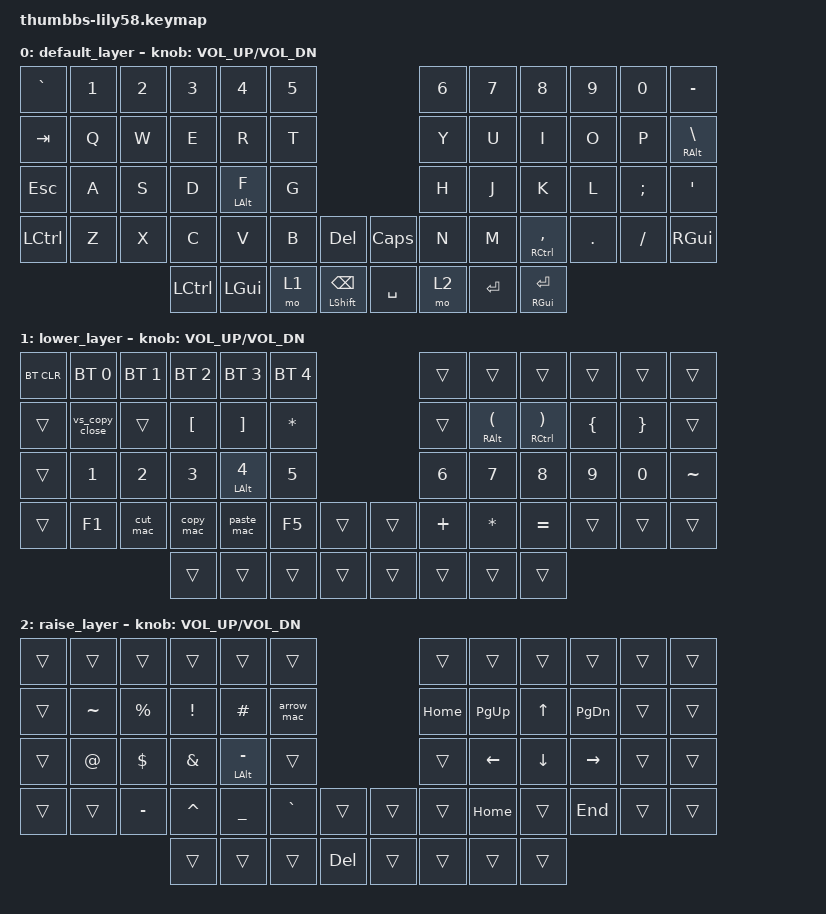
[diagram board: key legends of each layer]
/*
 * Copyright (c) 2020 The ZMK Contributors
 *
 * SPDX-License-Identifier: MIT
 */

#include <behaviors.dtsi>
#include <dt-bindings/zmk/keys.h>
#include <dt-bindings/zmk/bt.h>
#include <dt-bindings/zmk/ext_power.h>

/ {

	behaviors {
        bm: left_hand_positional_hold_tap {
            compatible = "zmk,behavior-hold-tap";
            label = "LEFT_POSITIONAL_HOLD_TAP";
            #binding-cells = <2>;
            tapping-term-ms = <200>;
            quick-tap-ms = <200>;
            flavor = "hold-preferred";
            bindings = <&kp>, <&kp>;
        };
		hm: homerow_mods {
            compatible = "zmk,behavior-hold-tap";
            label = "HOMEROW_MODS";
            #binding-cells = <2>;
            tapping-term-ms = <150>;
            quick-tap-ms = <300>;
            flavor = "tap-preferred";
            bindings = <&kp>, <&kp>;
        };
    };

	macros {
        arrow_mac: arrow_mac {
            label = "ZM_arrow_mac";
            compatible = "zmk,behavior-macro";
			wait-ms = <10>;
			tap-ms = <10>;
            #binding-cells = <0>;
            bindings
                = <&macro_tap &kp MINUS &kp GT>;
        };
        
        copy_mac: copy_mac {
            label = "ZM_copy_mac";
            compatible = "zmk,behavior-macro";
			wait-ms = <10>;
			tap-ms = <10>;
            #binding-cells = <0>;
            bindings
                = 
                  <&macro_press &kp LGUI>,
                  <&macro_tap &kp C>,
                  <&macro_release &kp LGUI>;
        };

        paste_mac: paste_mac {
            label = "ZM_paste_mac";
            compatible = "zmk,behavior-macro";
			wait-ms = <10>;
			tap-ms = <10>;
            #binding-cells = <0>;
            bindings
                = 
                  <&macro_press &kp LGUI>,
                  <&macro_tap &kp V>,
                  <&macro_release &kp LGUI>;
        };
        
        cut_mac: cut_mac {
            label = "ZM_cut_mac";
            compatible = "zmk,behavior-macro";
			wait-ms = <10>;
			tap-ms = <10>;
            #binding-cells = <0>;
            bindings
                = 
                  <&macro_press &kp LGUI>,
                  <&macro_tap &kp X>,
                  <&macro_release &kp LGUI>;
        };
        
        vs_copy_close: vs_copy_close {
             label = "ZM_vs_copy_close";
            compatible = "zmk,behavior-macro";
			wait-ms = <10>;
			tap-ms = <10>;
            #binding-cells = <0>;
            bindings
                = 
                  <&macro_press &kp LGUI>,
                  <&macro_tap &kp A>,
                  <&macro_tap &kp C>,
                  <&macro_release &kp LGUI>,
                  <&macro_press &kp LALT>,
                  <&macro_tap &kp W>,
                  <&macro_tap &kp J>,
                  <&macro_release &kp LALT>;           
        };
    };	

	
	keymap {
		compatible = "zmk,keymap";

		default_layer {
// ------------------------------------------------------------------------------------------------------------
// |  ESC  |  1  |  2  |  3   |  4   |  5   |                   |  6   |  7    |  8    |  9   |   0   |   `   |
// |  TAB  |  Q  |  W  |  E   |  R   |  T   |                   |  Y   |  U    |  I    |  O   |   P   |   -   |
// |  CTRL |  A  |  S  |  D   |  F   |  G   |                   |  H   |  J    |  K    |  L   |   ;   |   '   |
// | SHIFT |  Z  |  X  |  C   |  V   |  B   |   "["  |  |  "]"  |  N   |  M    |  ,    |  .   |   /   | SHIFT |
//                     | ALT  | GUI  | LOWER|  SPACE |  | ENTER | RAISE| BSPC  | GUI   |
			bindings = <
&kp GRAVE   &kp N1 &kp N2 &kp N3         &kp N4           &kp N5                               &kp N6 &kp N7           &kp N8               &kp N9       &kp N0   &kp MINUS
&kp TAB     &kp Q  &kp W  &kp E          &kp R            &kp T                                &kp Y  &kp U            &kp I                &kp O        &kp P    &hm RALT BSLH
&kp ESC     &kp A  &kp S  &kp D          &hm LALT F       &kp G                                &kp H  &kp J            &kp K                &kp L        &kp SEMI &kp SQT
&kp LCTRL   &kp Z  &kp X  &kp C          &kp V            &kp B  &kp DEL           &kp CAPS    &kp N  &kp M            &hm RCTRL COMMA      &kp DOT      &kp FSLH &kp RGUI
                          &kp LCTRL      &kp LGUI         &mo 1  &bm LSHIFT BSPC   &kp SPACE   &mo 2  &kp RET          &hm RGUI RET
			>;

			sensor-bindings = <&inc_dec_kp C_VOL_UP C_VOL_DN>;
		};

		lower_layer {
// ------------------------------------------------------------------------------------------------------------
// | BTCLR | BT1 | BT2 |  BT3 |  BT4 |  BT5 |                   |      |       |       |      |       |       |
// |       |  {  |  }  |  [   |  ]   |  *   |                   |  +   |  (    |  )    |      |       |       | 
// |       |  1  |  2  |  3   |  4   |  5   |                   |  6   |  7    |  8    |  9   |   0   |       |
// |       |  F1 |  F2 |  F3  |  F4  |  /   |        |  |       |  -   |       |  <    |  >   |       |       |
//                     |      |      |      |        |  |       |      |       |       |
			bindings = <
&bt BT_CLR &bt BT_SEL 0     &bt BT_SEL 1      &bt BT_SEL 2      &bt BT_SEL 3    &bt BT_SEL 4                 &trans    &trans          &trans           &trans    &trans    &trans
&trans     &vs_copy_close   &trans            &kp LBKT          &kp RBKT        &kp STAR                     &trans    &hm RALT LPAR   &hm RCTRL RPAR   &kp LBRC  &kp RBRC  &trans
&trans     &kp N1           &kp N2            &kp N3            &hm LALT N4     &kp N5                       &kp N6    &kp N7          &kp N8           &kp N9    &kp N0    &kp TILDE
&trans     &kp F1           &cut_mac          &copy_mac         &paste_mac      &kp F5    &trans   &trans    &kp PLUS  &kp STAR        &kp EQUAL        &trans    &trans    &trans
                                              &trans            &trans          &trans    &trans   &trans    &trans    &trans          &trans
			>;

			sensor-bindings = <&inc_dec_kp C_VOL_UP C_VOL_DN>;
		};

		raise_layer {
// ------------------------------------------------------------------------------------------------------------
// |       |     |     |      |      |      |                   |      |        |       |       |       |       |
// |       |     |     |   !  |      |      |                   | HOME | PGDN   |  PGUP | END   |    #  |       |
// |       |  @  |     |   $  |   _  |      |                   | LEFT | DOWN   |  UP   | RIGHT |       |       |
// |       |     |     |   ^  |      |      |        |  |       |   &  |   %    |       |       |       |       |
//                     |      |      |      |  DEL   |  |       |      |        |       |
			bindings = <
&trans    &trans    &trans    &trans         &trans          &trans                                  &trans      &trans    &trans         &trans        &trans    &trans
&trans    &kp TILDE &kp PRCNT &kp EXCL       &kp POUND       &arrow_mac                              &kp HOME    &kp PG_UP &kp UP         &kp PG_DN     &trans    &trans
&trans    &kp AT    &kp DLLR  &kp AMPS       &hm LALT MINUS  &trans                                  &trans      &kp LEFT  &kp DOWN       &kp RIGHT     &trans    &trans
&trans    &trans    &kp MINUS &kp CARET      &kp UNDER       &kp GRAVE  &trans               &trans  &trans      &kp HOME  &trans         &kp END       &trans    &trans
                              &trans         &trans          &trans     &kp DEL              &trans  &trans      &trans    &trans
			>;

			sensor-bindings = <&inc_dec_kp C_VOL_UP C_VOL_DN>;
		};
    };
};


// &trans  &trans  &trans   &trans  &trans    &trans                        &trans   &trans   &trans    &trans    &trans    &trans
// &trans  &trans  &trans   &trans  &trans    &trans                        &trans   &trans   &trans    &trans    &trans    &trans
// &trans  &trans  &trans   &trans  &trans    &trans                        &trans   &trans   &trans    &trans    &trans    &trans
// &trans  &trans  &trans   &trans  &trans    &trans   &trans      &trans   &trans   &trans   &trans    &trans    &trans    &trans
//                          &trans  &trans    &trans   &trans      &trans   &trans   &trans   &trans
